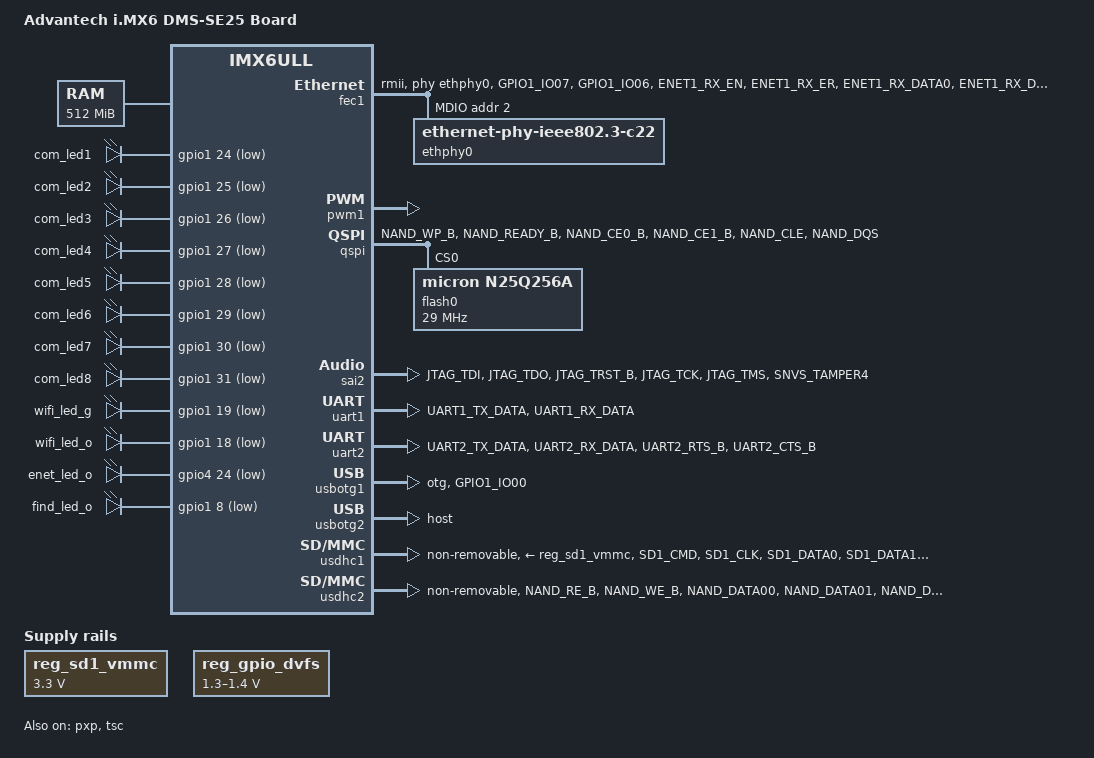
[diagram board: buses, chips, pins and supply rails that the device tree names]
/*
 * Copyright (C) 2018 Advantech, Inc.
 * Copyright (C) 2016 Freescale Semiconductor, Inc.
 *
 * This program is free software; you can redistribute it and/or modify
 * it under the terms of the GNU General Public License version 2 as
 * published by the Free Software Foundation.
 */

/dts-v1/;

#include <dt-bindings/input/input.h>
#include "imx6ull-dmsse25.dtsi"
#include <dt-bindings/gpio/gpio.h>

/ {
	model = "Advantech i.MX6 DMS-SE25 Board";
	compatible = "fsl,imx6ull-14x14-evk", "fsl,imx6ull";

	chosen {
		stdout-path = &uart1;
	};

	memory {
		reg = <0x80000000 0x20000000>;
	};

	reserved-memory {
		#address-cells = <1>;
		#size-cells = <1>;
		ranges;

		linux,cma {
			compatible = "shared-dma-pool";
			reusable;
			size = <0x14000000>;
			linux,cma-default;
		};
	};

	pxp_v4l2 {
		compatible = "fsl,imx6ul-pxp-v4l2", "fsl,imx6sx-pxp-v4l2", "fsl,imx6sl-pxp-v4l2";
		status = "okay";
	};

regulators {
		compatible = "simple-bus";
		#address-cells = <1>;
		#size-cells = <0>;
/*
		reg_can_3v3: regulator@0 {
			compatible = "regulator-fixed";
			reg = <0>;
			regulator-name = "can-3v3";
			regulator-min-microvolt = <3300000>;
			regulator-max-microvolt = <3300000>;
			gpios = <&gpio_spi 3 GPIO_ACTIVE_LOW>;
		};
*/
		reg_sd1_vmmc: regulator@1 {
			compatible = "regulator-fixed";
			regulator-name = "VSD_3V3";
			regulator-min-microvolt = <3300000>;
			regulator-max-microvolt = <3300000>;
//			gpio = <&gpio1 9 GPIO_ACTIVE_HIGH>;
			off-on-delay = <20000>;
			enable-active-high;
		};

		reg_gpio_dvfs: regulator-gpio {
			compatible = "regulator-gpio";
			pinctrl-names = "default";
			pinctrl-0 = <&pinctrl_dvfs>;
			regulator-min-microvolt = <1300000>;
			regulator-max-microvolt = <1400000>;
			regulator-name = "gpio_dvfs";
			regulator-type = "voltage";
			gpios = <&gpio5 3 GPIO_ACTIVE_HIGH>;
			states = <1300000 0x1 1400000 0x0>;
		};
	};
/*
	spi4 {
		compatible = "spi-gpio";
		pinctrl-names = "default";
		pinctrl-0 = <&pinctrl_spi4>;
		pinctrl-assert-gpios = <&gpio5 8 GPIO_ACTIVE_LOW>;
		status = "okay";
		gpio-sck = <&gpio5 11 0>;
		gpio-mosi = <&gpio5 10 0>;
		cs-gpios = <&gpio5 7 0>;
		num-chipselects = <1>;
		#address-cells = <1>;
		#size-cells = <0>;

		gpio_spi: gpio_spi@0 {
			compatible = "fairchild,74hc595";
			gpio-controller;
			#gpio-cells = <2>;
			reg = <0>;
			registers-number = <1>;
			registers-default = /bits/ 8 <0x57>;
			spi-max-frequency = <100000>;
		};
	};
*/
   leds: leds {
		compatible = "gpio-leds";
	};

};

&cpu0 {
	dc-supply = <&reg_gpio_dvfs>;
};

&clks {
	assigned-clocks = <&clks IMX6UL_CLK_PLL4_AUDIO_DIV>;
	assigned-clock-rates = <786432000>;
};

&fec1 {
	pinctrl-names = "default";
	pinctrl-0 = <&pinctrl_enet1>;
	phy-mode = "rmii";
	phy-handle = <&ethphy0>;
	status = "okay";
	mdio {
		#address-cells = <1>;
		#size-cells = <0>;
		ethphy0: ethernet-phy@2 {
			compatible = "ethernet-phy-ieee802.3-c22";
			reg = <2>;
		};
	};
};

/*
&fec2 {
	pinctrl-names = "default";
	pinctrl-0 = <&pinctrl_enet2>;
	phy-mode = "rmii";
	phy-handle = <&ethphy1>;
	status = "okay";

	mdio {
		#address-cells = <1>;
		#size-cells = <0>;

		ethphy0: ethernet-phy@2 {
			compatible = "ethernet-phy-ieee802.3-c22";
			reg = <2>;
		};

		ethphy1: ethernet-phy@1 {
			compatible = "ethernet-phy-ieee802.3-c22";
			reg = <1>;
		};
	};
};
*/
&gpc {
	fsl,cpu_pupscr_sw2iso = <0x1>;
	fsl,cpu_pupscr_sw = <0x0>;
	fsl,cpu_pdnscr_iso2sw = <0x1>;
	fsl,cpu_pdnscr_iso = <0x1>;
	fsl,ldo-bypass = <0>; /* DCDC, ldo-enable */
};
/*
&i2c1 {
	clock-frequency = <100000>;
	pinctrl-names = "default";
	pinctrl-0 = <&pinctrl_i2c1>;
	status = "okay";
};

&i2c2 {
	clock_frequency = <100000>;
	pinctrl-names = "default";
	pinctrl-0 = <&pinctrl_i2c2>;
	status = "okay";
};
*/
&iomuxc {
	pinctrl-names = "default";
	pinctrl-0 = <&pinctrl_hog_1>;
	pinctrl_hog_1: hoggrp-1 {
		fsl,pins = <

		    MX6UL_PAD_ENET2_TX_DATA1__GPIO2_IO12 0x128b1  /* UART_EN1 44 Open_Drain_Enabled pull_dwon_100M */
		    MX6UL_PAD_ENET2_TX_EN__GPIO2_IO13  0x128b1    /* UART_EN2 45 Open_Drain_Enabled pull_dwon_100M */
		    MX6UL_PAD_CSI_MCLK__GPIO4_IO17     0x1b0b1    /* BT_WAKE 113 pull_up_100M*/
		    MX6UL_PAD_GPIO1_IO09__GPIO1_IO09   0x1b0b1    /* BT_RST# 9 pull_up_100M*/
		    MX6UL_PAD_GPIO1_IO05__GPIO1_IO05   0x1b0b1    /* WL_REG_ON pull_up_100M*/
			MX6UL_PAD_GPIO1_IO03__GPIO1_IO03   0x128b1    /* ENET_RST#  Open_Drain_Enabled*/
		>;
	};

	pinctrl_led: ledgrp {
		fsl,pins = <
		MX6UL_PAD_UART1_RTS_B__GPIO1_IO19 0x1b0b1     /* GPO_WIFI_LED_G 19 pull_up_100M*/
		MX6UL_PAD_UART1_CTS_B__GPIO1_IO18 0x1b0b1     /* GPO_WIFI_LED_O 18 pull_up_100M*/
		MX6UL_PAD_UART3_TX_DATA__GPIO1_IO24   0x1b0b1 /* GPO_com_led1*/
		MX6UL_PAD_UART3_RX_DATA__GPIO1_IO25   0x1b0b1 /* GPO_com_led2*/
		MX6UL_PAD_UART3_CTS_B__GPIO1_IO26     0x1b0b1 /* GPO_com_led3*/
		MX6UL_PAD_UART3_RTS_B__GPIO1_IO27     0x1b0b1 /* GPO_com_led4*/
		MX6UL_PAD_UART4_TX_DATA__GPIO1_IO28   0x1b0b1 /* GPO_com_led5*/
		MX6UL_PAD_UART4_RX_DATA__GPIO1_IO29   0x1b0b1 /* GPO_com_led5*/
		MX6UL_PAD_UART5_TX_DATA__GPIO1_IO30   0x1b0b1 /* GPO_com_led7*/
		MX6UL_PAD_UART5_RX_DATA__GPIO1_IO31   0x1b0b1 /* GPO_com_led8*/
		MX6UL_PAD_CSI_DATA03__GPIO4_IO24      0x1b0b1 /* GPIO_ENET_LED#*/
		MX6UL_PAD_GPIO1_IO08__GPIO1_IO08      0x1b0b1 /* GPO_FIND_LED*/
		>;
	};

	pinctrl_enet1: enet1grp {
		fsl,pins = <
		    MX6UL_PAD_GPIO1_IO07__ENET1_MDC   0x1b0b0
            MX6UL_PAD_GPIO1_IO06__ENET1_MDIO 0x1b0b0
			MX6UL_PAD_ENET1_RX_EN__ENET1_RX_EN	0x1b0b0
			MX6UL_PAD_ENET1_RX_ER__ENET1_RX_ER	0x1b0b0
			MX6UL_PAD_ENET1_RX_DATA0__ENET1_RDATA00	0x1b0b0
			MX6UL_PAD_ENET1_RX_DATA1__ENET1_RDATA01	0x1b0b0
			MX6UL_PAD_ENET1_TX_EN__ENET1_TX_EN	0x1b0b0
			MX6UL_PAD_ENET1_TX_DATA0__ENET1_TDATA00	0x1b0b0
			MX6UL_PAD_ENET1_TX_DATA1__ENET1_TDATA01	0x1b0b0
			MX6UL_PAD_ENET1_TX_CLK__ENET1_REF_CLK1	0x4001b031
		>;
	};

	/*pinctrl_enet2: enet2grp {
		fsl,pins = <
			MX6UL_PAD_GPIO1_IO07__ENET2_MDC		0x1b0b0
			MX6UL_PAD_GPIO1_IO06__ENET2_MDIO	0x1b0b0
			MX6UL_PAD_ENET2_RX_EN__ENET2_RX_EN	0x1b0b0
			MX6UL_PAD_ENET2_RX_ER__ENET2_RX_ER	0x1b0b0
			MX6UL_PAD_ENET2_RX_DATA0__ENET2_RDATA00	0x1b0b0
			MX6UL_PAD_ENET2_RX_DATA1__ENET2_RDATA01	0x1b0b0
			MX6UL_PAD_ENET2_TX_EN__ENET2_TX_EN	0x1b0b0
			MX6UL_PAD_ENET2_TX_DATA0__ENET2_TDATA00	0x1b0b0
			MX6UL_PAD_ENET2_TX_DATA1__ENET2_TDATA01	0x1b0b0
			MX6UL_PAD_ENET2_TX_CLK__ENET2_REF_CLK2	0x4001b031
		>;
	};*/
    /*
	pinctrl_i2c1: i2c1grp {
		fsl,pins = <
			MX6UL_PAD_UART4_TX_DATA__I2C1_SCL 0x4001b8b0
			MX6UL_PAD_UART4_RX_DATA__I2C1_SDA 0x4001b8b0
		>;
	};

	pinctrl_i2c2: i2c2grp {
		fsl,pins = <
			MX6UL_PAD_UART5_TX_DATA__I2C2_SCL 0x4001b8b0
			MX6UL_PAD_UART5_RX_DATA__I2C2_SDA 0x4001b8b0
		>;
	};
	*/
/*
	pinctrl_pwm1: pwm1grp {
		fsl,pins = <
			MX6UL_PAD_GPIO1_IO08__PWM1_OUT   0x110b0
		>;
	};
*/
	pinctrl_qspi: qspigrp {
		fsl,pins = <
			MX6UL_PAD_NAND_WP_B__QSPI_A_SCLK      0x70a1
			MX6UL_PAD_NAND_READY_B__QSPI_A_DATA00 0x70a1
			MX6UL_PAD_NAND_CE0_B__QSPI_A_DATA01   0x70a1
			MX6UL_PAD_NAND_CE1_B__QSPI_A_DATA02   0x70a1
			MX6UL_PAD_NAND_CLE__QSPI_A_DATA03     0x70a1
			MX6UL_PAD_NAND_DQS__QSPI_A_SS0_B      0x70a1
		>;
	};

	pinctrl_sai2: sai2grp {
		fsl,pins = <
			MX6UL_PAD_JTAG_TDI__SAI2_TX_BCLK	0x17088
			MX6UL_PAD_JTAG_TDO__SAI2_TX_SYNC	0x17088
			MX6UL_PAD_JTAG_TRST_B__SAI2_TX_DATA	0x11088
			MX6UL_PAD_JTAG_TCK__SAI2_RX_DATA	0x11088
			MX6UL_PAD_JTAG_TMS__SAI2_MCLK		0x17088
		>;
	};
/*
	pinctrl_tsc: tscgrp {
		fsl,pins = <
			MX6UL_PAD_GPIO1_IO01__GPIO1_IO01	0xb0
			MX6UL_PAD_GPIO1_IO02__GPIO1_IO02	0xb0
			MX6UL_PAD_GPIO1_IO03__GPIO1_IO03	0xb0
			MX6UL_PAD_GPIO1_IO04__GPIO1_IO04	0xb0
		>;
	};
*/
	pinctrl_uart1: uart1grp {
		fsl,pins = <
			MX6UL_PAD_UART1_TX_DATA__UART1_DCE_TX 0x1b0b1
			MX6UL_PAD_UART1_RX_DATA__UART1_DCE_RX 0x1b0b1
		>;
	};

	pinctrl_uart2: uart2grp {
		fsl,pins = <
			MX6UL_PAD_UART2_TX_DATA__UART2_DCE_TX	0x1b0b1
			MX6UL_PAD_UART2_RX_DATA__UART2_DCE_RX	0x1b0b1
			MX6UL_PAD_UART2_RTS_B__UART2_DCE_RTS	0x1b0b1
			MX6UL_PAD_UART2_CTS_B__UART2_DCE_CTS	0x1b0b1
		>;
	};

	pinctrl_uart2dte: uart2dtegrp {
		fsl,pins = <
			MX6UL_PAD_UART2_TX_DATA__UART2_DTE_RX	0x1b0b1
			MX6UL_PAD_UART2_RX_DATA__UART2_DTE_TX	0x1b0b1
			MX6UL_PAD_UART2_RTS_B__UART2_DTE_CTS	0x1b0b1
			MX6UL_PAD_UART2_CTS_B__UART2_DTE_RTS	0x1b0b1
		>;
	};

	pinctrl_usb_otg1_id: usbotg1idgrp {
		fsl,pins = <
			MX6UL_PAD_GPIO1_IO00__ANATOP_OTG1_ID	0x17059
		>;
	};

	pinctrl_usdhc1: usdhc1grp {
		fsl,pins = <
			MX6UL_PAD_SD1_CMD__USDHC1_CMD     0x17059
			MX6UL_PAD_SD1_CLK__USDHC1_CLK     0x10071
			MX6UL_PAD_SD1_DATA0__USDHC1_DATA0 0x17059
			MX6UL_PAD_SD1_DATA1__USDHC1_DATA1 0x17059
			MX6UL_PAD_SD1_DATA2__USDHC1_DATA2 0x17059
			MX6UL_PAD_SD1_DATA3__USDHC1_DATA3 0x17059
		>;
	};

	pinctrl_usdhc1_100mhz: usdhc1grp100mhz {
		fsl,pins = <
			MX6UL_PAD_SD1_CMD__USDHC1_CMD     0x170b9
			MX6UL_PAD_SD1_CLK__USDHC1_CLK     0x100b9
			MX6UL_PAD_SD1_DATA0__USDHC1_DATA0 0x170b9
			MX6UL_PAD_SD1_DATA1__USDHC1_DATA1 0x170b9
			MX6UL_PAD_SD1_DATA2__USDHC1_DATA2 0x170b9
			MX6UL_PAD_SD1_DATA3__USDHC1_DATA3 0x170b9
		>;
	};

	pinctrl_usdhc1_200mhz: usdhc1grp200mhz {
		fsl,pins = <
			MX6UL_PAD_SD1_CMD__USDHC1_CMD     0x170f9
			MX6UL_PAD_SD1_CLK__USDHC1_CLK     0x100f9
			MX6UL_PAD_SD1_DATA0__USDHC1_DATA0 0x170f9
			MX6UL_PAD_SD1_DATA1__USDHC1_DATA1 0x170f9
			MX6UL_PAD_SD1_DATA2__USDHC1_DATA2 0x170f9
			MX6UL_PAD_SD1_DATA3__USDHC1_DATA3 0x170f9
		>;
	};

	pinctrl_usdhc2: usdhc2grp {
		fsl,pins = <
			MX6UL_PAD_NAND_RE_B__USDHC2_CLK     0x10069
			MX6UL_PAD_NAND_WE_B__USDHC2_CMD     0x17059
			MX6UL_PAD_NAND_DATA00__USDHC2_DATA0 0x17059
			MX6UL_PAD_NAND_DATA01__USDHC2_DATA1 0x17059
			MX6UL_PAD_NAND_DATA02__USDHC2_DATA2 0x17059
			MX6UL_PAD_NAND_DATA03__USDHC2_DATA3 0x17059
		>;
	};

	pinctrl_usdhc2_8bit: usdhc2grp_8bit {
		fsl,pins = <
			MX6UL_PAD_NAND_RE_B__USDHC2_CLK     0x10069
			MX6UL_PAD_NAND_WE_B__USDHC2_CMD     0x17059
			MX6UL_PAD_NAND_DATA00__USDHC2_DATA0 0x17059
			MX6UL_PAD_NAND_DATA01__USDHC2_DATA1 0x17059
			MX6UL_PAD_NAND_DATA02__USDHC2_DATA2 0x17059
			MX6UL_PAD_NAND_DATA03__USDHC2_DATA3 0x17059
			MX6UL_PAD_NAND_DATA04__USDHC2_DATA4 0x17059
			MX6UL_PAD_NAND_DATA05__USDHC2_DATA5 0x17059
			MX6UL_PAD_NAND_DATA06__USDHC2_DATA6 0x17059
			MX6UL_PAD_NAND_DATA07__USDHC2_DATA7 0x17059
		>;
	};

	pinctrl_usdhc2_8bit_100mhz: usdhc2grp_8bit_100mhz {
		fsl,pins = <
			MX6UL_PAD_NAND_RE_B__USDHC2_CLK     0x100b9
			MX6UL_PAD_NAND_WE_B__USDHC2_CMD     0x170b9
			MX6UL_PAD_NAND_DATA00__USDHC2_DATA0 0x170b9
			MX6UL_PAD_NAND_DATA01__USDHC2_DATA1 0x170b9
			MX6UL_PAD_NAND_DATA02__USDHC2_DATA2 0x170b9
			MX6UL_PAD_NAND_DATA03__USDHC2_DATA3 0x170b9
			MX6UL_PAD_NAND_DATA04__USDHC2_DATA4 0x170b9
			MX6UL_PAD_NAND_DATA05__USDHC2_DATA5 0x170b9
			MX6UL_PAD_NAND_DATA06__USDHC2_DATA6 0x170b9
			MX6UL_PAD_NAND_DATA07__USDHC2_DATA7 0x170b9
		>;
	};

	pinctrl_usdhc2_8bit_200mhz: usdhc2grp_8bit_200mhz {
		fsl,pins = <
			MX6UL_PAD_NAND_RE_B__USDHC2_CLK     0x100f9
			MX6UL_PAD_NAND_WE_B__USDHC2_CMD     0x170f9
			MX6UL_PAD_NAND_DATA00__USDHC2_DATA0 0x170f9
			MX6UL_PAD_NAND_DATA01__USDHC2_DATA1 0x170f9
			MX6UL_PAD_NAND_DATA02__USDHC2_DATA2 0x170f9
			MX6UL_PAD_NAND_DATA03__USDHC2_DATA3 0x170f9
			MX6UL_PAD_NAND_DATA04__USDHC2_DATA4 0x170f9
			MX6UL_PAD_NAND_DATA05__USDHC2_DATA5 0x170f9
			MX6UL_PAD_NAND_DATA06__USDHC2_DATA6 0x170f9
			MX6UL_PAD_NAND_DATA07__USDHC2_DATA7 0x170f9
		>;
	};

	pinctrl_wdog: wdoggrp {
		fsl,pins = <
			MX6UL_PAD_LCD_RESET__WDOG1_WDOG_ANY    0x30b0
		>;
	};
};

&iomuxc_snvs {
	pinctrl-names = "default_snvs";
        pinctrl-0 = <&pinctrl_hog_2>;
        imx6ul-evk {
		pinctrl_hog_2: hoggrp-2 {
                        fsl,pins = <
                                MX6ULL_PAD_SNVS_TAMPER0__GPIO5_IO00      0x80000000
                        >;
                };

		pinctrl_dvfs: dvfsgrp {
                        fsl,pins = <
                                MX6ULL_PAD_SNVS_TAMPER3__GPIO5_IO03      0x79
                        >;
                };
/*
		pinctrl_spi4: spi4grp {
                        fsl,pins = <
                                MX6ULL_PAD_BOOT_MODE0__GPIO5_IO10        0x70a1
                                MX6ULL_PAD_BOOT_MODE1__GPIO5_IO11        0x70a1
                                MX6ULL_PAD_SNVS_TAMPER7__GPIO5_IO07      0x70a1
                                MX6ULL_PAD_SNVS_TAMPER8__GPIO5_IO08      0x80000000
                        >;
                };
*/
                pinctrl_sai2_hp_det_b: sai2_hp_det_grp {
                        fsl,pins = <
                                MX6ULL_PAD_SNVS_TAMPER4__GPIO5_IO04   0x17059
                        >;
                };
        };
};

&pwm1 {
//	pinctrl-names = "default";
//	pinctrl-0 = <&pinctrl_pwm1>;
	status = "okay";
};

&pxp {
	status = "okay";
};

&qspi {
	pinctrl-names = "default";
	pinctrl-0 = <&pinctrl_qspi>;
	status = "okay";
	ddrsmp=<0>;

	flash0: n25q256a@0 {
		#address-cells = <1>;
		#size-cells = <1>;
		compatible = "micron,n25q256a";
		spi-max-frequency = <29000000>;
		spi-nor,ddr-quad-read-dummy = <6>;
		reg = <0>;
	};
};

&sai2 {
	pinctrl-names = "default";
	pinctrl-0 = <&pinctrl_sai2
		     &pinctrl_sai2_hp_det_b>;

	assigned-clocks = <&clks IMX6UL_CLK_SAI2_SEL>,
			  <&clks IMX6UL_CLK_SAI2>;
	assigned-clock-parents = <&clks IMX6UL_CLK_PLL4_AUDIO_DIV>;
	assigned-clock-rates = <0>, <12288000>;

	status = "okay";
};

&tsc {
//	pinctrl-names = "default";
//	pinctrl-0 = <&pinctrl_tsc>;
//	xnur-gpio = <&gpio1 3 GPIO_ACTIVE_LOW>;
//	measure-delay-time = <0xffff>;
//	pre-charge-time = <0xfff>;
	status = "okay";
};

&uart1 {
	pinctrl-names = "default";
	pinctrl-0 = <&pinctrl_uart1>;
	status = "okay";
};

&uart2 {
	pinctrl-names = "default";
	pinctrl-0 = <&pinctrl_uart2>;
	fsl,uart-has-rtscts;
	/* for DTE mode, add below change */
	/*fsl,dte-mode; */
	/* pinctrl-0 = <&pinctrl_uart2dte>;*/
	status = "okay";
};

&usbotg1 {
	pinctrl-names = "default";
	pinctrl-0 = <&pinctrl_usb_otg1_id>;
	dr_mode = "otg";
	srp-disable;
	hnp-disable;
	adp-disable;
	status = "okay";
};

&usbotg2 {
	dr_mode = "host";
	disable-over-current;
	status = "okay";
};

&usbphy1 {
	tx-d-cal = <0x5>;
};

&usbphy2 {
	tx-d-cal = <0x5>;
};

&usdhc1 {
	pinctrl-names = "default", "state_100mhz", "state_200mhz";
	pinctrl-0 = <&pinctrl_usdhc1>;
	pinctrl-1 = <&pinctrl_usdhc1_100mhz>;
	pinctrl-2 = <&pinctrl_usdhc1_200mhz>;
	// cd-gpios = <&gpio1 19 GPIO_ACTIVE_LOW>;
	// keep-power-in-suspend;
	// enable-sdio-wakeup;
	non-removable;
	vmmc-supply = <&reg_sd1_vmmc>;
	status = "okay";
};

&usdhc2 {
	pinctrl-names = "default";
	pinctrl-0 = <&pinctrl_usdhc2>;
	non-removable;
	status = "okay";
};

&wdog1 {
	pinctrl-names = "default";
	pinctrl-0 = <&pinctrl_wdog>;
	fsl,ext-reset-output;
};


&leds {
		pinctrl-names = "default";
		pinctrl-0 = <&pinctrl_led>;

		com_led1 {
			label = "com_led1";
			gpios = <&gpio1 24 GPIO_ACTIVE_LOW>;
			default-state = "on";
		};

        com_led2 {
			label = "com_led2";
			gpios = <&gpio1 25 GPIO_ACTIVE_LOW>;
			default-state = "on";
		};

       com_led3 {
			label = "com_led3";
			gpios = <&gpio1 26 GPIO_ACTIVE_LOW>;
			default-state = "on";
		};

        com_led4 {
			label = "com_led4";
			gpios = <&gpio1 27 GPIO_ACTIVE_LOW>;
			default-state = "on";
		};

        com_led5 {
			label = "com_led5";
			gpios = <&gpio1 28 GPIO_ACTIVE_LOW>;
			default-state = "on";
		};

        com_led6 {
			label = "com_led6";
			gpios = <&gpio1 29 GPIO_ACTIVE_LOW>;
			default-state = "on";
		};

        com_led7 {
			label = "com_led7";
			gpios = <&gpio1 30 GPIO_ACTIVE_LOW>;
			default-state = "on";
		};
        com_led8 {
			label = "com_led8";
			gpios = <&gpio1 31 GPIO_ACTIVE_LOW>;
			default-state = "on";
		};

		wifi_led_g {
			label = "wifi_led_g";
			gpios = <&gpio1 19 GPIO_ACTIVE_LOW>;
			default-state = "on";
		};

        wifi_led_o {
			label = "wifi_led_o";
			gpios = <&gpio1 18 GPIO_ACTIVE_LOW>;
			default-state = "on";
		};

		enet_led_o {
			label = "enet_led_o";
			gpios = <&gpio4 24 GPIO_ACTIVE_LOW>;
			default-state = "on";
		};

		 find_led_o {
			label = "find_led_o";
			gpios = <&gpio1 8 GPIO_ACTIVE_LOW>;
			default-state = "on";
		};

	};
